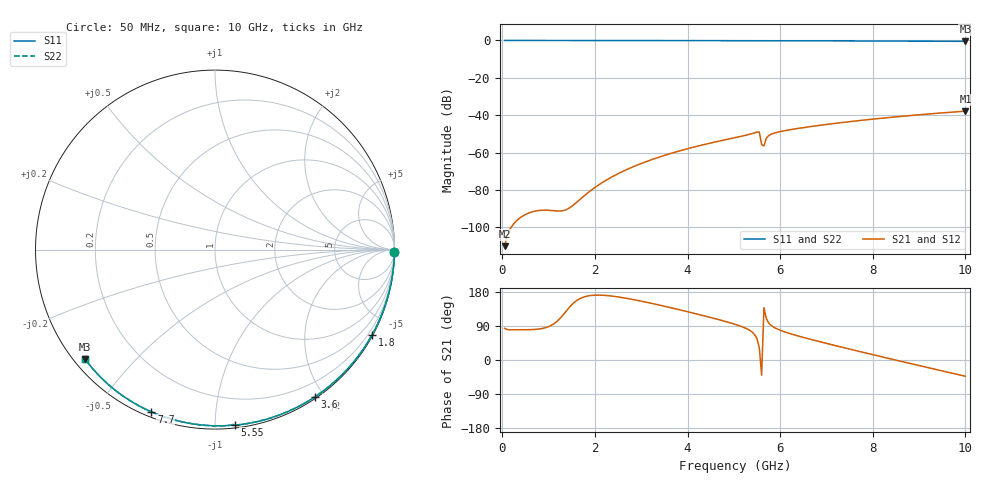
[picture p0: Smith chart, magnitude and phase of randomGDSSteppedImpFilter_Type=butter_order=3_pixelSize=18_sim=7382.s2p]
! freq	dB(S11)	phase(S11)	dB(S12)	phase(S12)
!  dB(S21)	phase(S21)	dB(S22)	phase(S22)
!S-par simulation data
#  GHz  S  DB  R 50
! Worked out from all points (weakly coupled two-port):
!   200 points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, 50 MHz to 10 GHz, reference 50 ohm
!   highest |S21| = -37.81 dB at 10 GHz (marker M1); lowest = -110.0 dB at 50 MHz (marker M2)
!   lowest |S11| = -0.5 dB at 10 GHz (marker M3), VSWR 36.66, Z = 1.55 - j18.3 ohm
!   |S11| at or under -10 dB: nowhere
!   |S22| runs from -0.5 to 0.0 dB; largest |S21 - S12| = 0
!   S11 on the Smith chart (normalised r, x): 50 MHz: open; 1.8 GHz: 0.03, -3.91; 3.6 GHz: 0.02, -1.88; 5.55 GHz: 0.02, -1.12; 7.7 GHz: 0.02, -0.68; 10 GHz: 0.03, -0.37
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0.05  -0.00 -0.8  -110.00 83.6  -110.00 83.6  -0.00 -0.8
0.9  -0.02 -14.5  -90.74 84.2  -90.74 84.2  -0.02 -14.5
1.75  -0.04 -27.9  -83.44 165.7  -83.44 165.7  -0.04 -27.9
1.8  -0.04 -28.7  -82.40 167.6  -82.40 167.6  -0.04 -28.7
1.95  -0.04 -31.0  -79.51 170.7  -79.51 170.7  -0.04 -31.0
2.25  -0.05 -35.6  -74.61 170.1  -74.61 170.1  -0.05 -35.6
2.55  -0.05 -40.2  -70.62 165.5  -70.62 165.5  -0.05 -40.2
2.95  -0.06 -46.3  -66.27 156.5  -66.27 156.5  -0.06 -46.3
3.4  -0.07 -53.0  -62.26 144.7  -62.26 144.7  -0.07 -53.0
3.6  -0.08 -56.0  -60.70 139.1  -60.70 139.1  -0.08 -56.0
4.25  -0.09 -65.4  -56.31 119.9  -56.31 119.9  -0.09 -65.4
5.05  -0.12 -76.7  -51.83 93.2  -51.83 93.2  -0.12 -76.7
5.55  -0.15 -83.6  -48.98 32.1  -48.98 32.1  -0.15 -83.6
5.6  -0.18 -84.2  -55.68 -40.0  -55.68 -40.0  -0.18 -84.2
5.65  -0.16 -84.7  -56.39 138.0  -56.39 138.0  -0.16 -84.7
5.7  -0.15 -85.4  -52.29 109.5  -52.29 109.5  -0.15 -85.4
5.8  -0.15 -86.8  -50.21 91.9  -50.21 91.9  -0.15 -86.8
6.1  -0.16 -90.8  -48.24 74.1  -48.24 74.1  -0.16 -90.8
6.7  -0.19 -98.7  -45.90 53.2  -45.90 53.2  -0.19 -98.7
7.7  -0.26 -111.4  -42.86 22.9  -42.86 22.9  -0.26 -111.4
8.35  -0.31 -119.5  -41.20 3.9  -41.20 3.9  -0.31 -119.5
10  -0.47 -139.7  -37.81 -42.9  -37.81 -42.9  -0.47 -139.7
